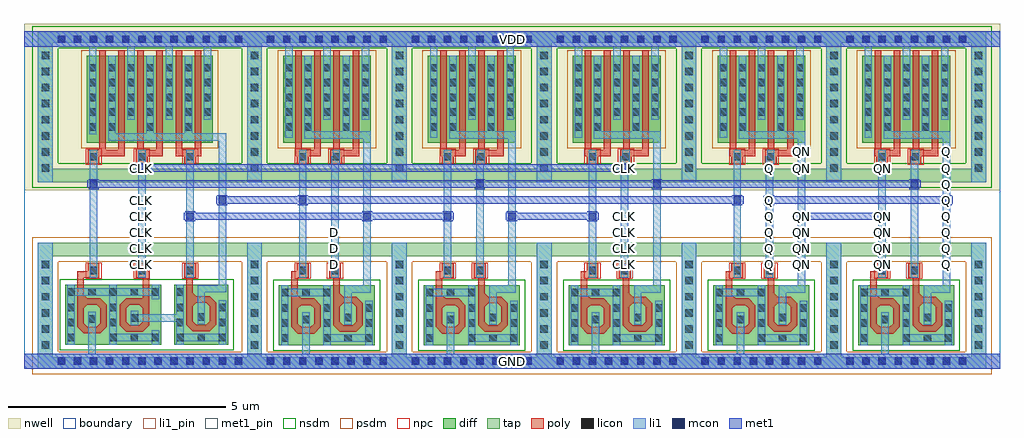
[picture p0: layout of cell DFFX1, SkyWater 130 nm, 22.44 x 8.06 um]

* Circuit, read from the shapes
.subckt DFFX1 CLK D GND Q QN VDD
XM1 n1 n2 GND GND sky130_fd_pr__nfet_01v8 w=2.6 l=0.1485
XM2 n1 CLK n3 GND sky130_fd_pr__nfet_01v8 w=2.52 l=0.1457
XM3 n3 n4 n5 GND sky130_fd_pr__nfet_01v8 w=2.56 l=0.146
XM4 n6 n5 GND GND sky130_fd_pr__nfet_01v8 w=2.6 l=0.146
XM5 n6 D n4 GND sky130_fd_pr__nfet_01v8 w=2.56 l=0.1471
XM6 n7 n4 GND GND sky130_fd_pr__nfet_01v8 w=2.6 l=0.146
XM7 n7 n2 n8 GND sky130_fd_pr__nfet_01v8 w=2.56 l=0.1472
XM8 n9 n8 GND GND sky130_fd_pr__nfet_01v8 w=2.6 l=0.146
XM9 n9 CLK n2 GND sky130_fd_pr__nfet_01v8 w=2.56 l=0.1471
XM10 n10 n5 GND GND sky130_fd_pr__nfet_01v8 w=2.6 l=0.1459
XM11 n10 Q QN GND sky130_fd_pr__nfet_01v8 w=2.56 l=0.1473
XM12 n11 QN GND GND sky130_fd_pr__nfet_01v8 w=2.6 l=0.146
XM13 n11 n2 Q GND sky130_fd_pr__nfet_01v8 w=2.56 l=0.1471
XM14 n5 n2 VDD VDD sky130_fd_pr__pfet_01v8 w=2 l=0.15 m=2
XM15 n5 CLK VDD VDD sky130_fd_pr__pfet_01v8 w=2 l=0.15 m=2
XM16 n5 n4 VDD VDD sky130_fd_pr__pfet_01v8 w=2 l=0.15 m=2
XM17 n4 n5 VDD VDD sky130_fd_pr__pfet_01v8 w=2 l=0.15 m=2
XM18 n4 D VDD VDD sky130_fd_pr__pfet_01v8 w=2 l=0.15 m=2
XM19 n8 n4 VDD VDD sky130_fd_pr__pfet_01v8 w=2 l=0.15 m=2
XM20 n8 n2 VDD VDD sky130_fd_pr__pfet_01v8 w=2 l=0.15 m=2
XM21 n2 n8 VDD VDD sky130_fd_pr__pfet_01v8 w=2 l=0.15 m=2
XM22 n2 CLK VDD VDD sky130_fd_pr__pfet_01v8 w=2 l=0.15 m=2
XM23 QN n5 VDD VDD sky130_fd_pr__pfet_01v8 w=2 l=0.15 m=2
XM24 QN Q VDD VDD sky130_fd_pr__pfet_01v8 w=2 l=0.15 m=2
XM25 Q QN VDD VDD sky130_fd_pr__pfet_01v8 w=2 l=0.15 m=2
XM26 Q n2 VDD VDD sky130_fd_pr__pfet_01v8 w=2 l=0.15 m=2
.ends

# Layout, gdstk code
from math import pi, radians
import gdstk
lib = gdstk.Library(unit=1e-6, precision=1e-09)
def R(c, l, rs):  # rectangles x0, y0, x1, y1
    for r in rs: c.add(gdstk.rectangle(r[:2], r[2:], *l))
def A(c, l, x, y, w, h, nx, ny, dx, dy):  # array of equal rectangles
    R(c, l, [(x+i*dx, y+j*dy, x+i*dx+w, y+j*dy+h) for i in range(nx) for j in range(ny)])
def P(c, l, *ps):  # polygons
    for p in ps: c.add(gdstk.Polygon(p, *l))
nwell = (64, 20)
diff = (65, 20)
tap = (65, 44)
poly = (66, 20)
licon = (66, 44)
li1_pin = (67, 16)
li1 = (67, 20)
mcon = (67, 44)
met1_pin = (68, 16)
met1 = (68, 20)
nsdm = (93, 44)
psdm = (94, 20)
npc = (95, 20)
boundary = (235, 4)

li1_m1_contact = lib.new_cell('li1_M1_contact')
R(li1_m1_contact, li1, [(-0.085,-0.165,0.085,0.165)])
R(li1_m1_contact, mcon, [(-0.085,-0.085,0.085,0.085)])
R(li1_m1_contact, met1, [(-0.115,-0.115,0.115,-0.085), (-0.265,-0.085,0.145,0.085), (-0.115,0.085,0.115,0.115)])

diff_ring_side = lib.new_cell('diff_ring_side')
R(diff_ring_side, nwell, [(-0.435,3.93,0.435,7.75)])
R(diff_ring_side, tap, [(-0.17,-0.17,0.17,2.72), (-0.17,4.11,0.17,7.57)])
A(diff_ring_side, licon, -0.085, 0.285, 0.17, 0.17, 1, 6, 0, 0.37)
A(diff_ring_side, licon, -0.085, 4.355, 0.17, 0.17, 1, 8, 0, 0.37)
R(diff_ring_side, li1, [(-0.17,-0.17,0.17,2.72), (-0.17,4.11,0.17,7.57)])
R(diff_ring_side, met1, [(-0.17,-0.17,0.17,0.17), (-0.17,7.23,0.17,7.57)])
R(diff_ring_side, nsdm, [(-0.295,3.985,0.295,7.695)])
R(diff_ring_side, psdm, [(-0.295,-0.295,0.295,2.845)])

nmos_bottom = lib.new_cell('nmos_bottom')
R(nmos_bottom, diff, [(0,0,1.24,1.38)])
R(nmos_bottom, poly, [(0.43,0.27,0.81,0.42), (0.28,0.42,0.43,0.925), (0.81,0.42,0.96,0.925), (0.43,0.925,0.96,1.075), (0.81,1.075,0.96,1.51)])
P(nmos_bottom, poly, [(0.73,1.075),(0.81,1.075),(0.81,1.155)],
  [(0.28,0.925),(0.43,0.925),(0.43,1.075)],
  [(0.43,0.845),(0.43,0.925),(0.51,0.925)],
  [(0.73,0.925),(0.81,0.925),(0.81,0.845)],
  [(0.43,0.5),(0.43,0.42),(0.51,0.42)],
  [(0.73,0.42),(0.81,0.42),(0.81,0.5)],
  [(0.28,0.42),(0.43,0.42),(0.43,0.27)],
  [(0.81,0.27),(0.81,0.42),(0.96,0.42)])
A(nmos_bottom, licon, 0.05, 1.13, 0.17, 0.17, 3, 1, 0.485, 0)
R(nmos_bottom, licon, [(0.05,0.08,0.22,0.25), (1.02,0.08,1.19,0.25), (0.05,0.43,0.22,0.6), (1.02,0.43,1.19,0.6), (0.535,0.505,0.705,0.675), (0.05,0.77,0.22,0.94), (1.02,0.77,1.19,0.94)])
R(nmos_bottom, li1, [(0.05,0,0.22,1.13), (1.02,0,1.19,1.13), (0.535,0.425,0.705,0.755), (0.05,1.13,1.19,1.3), (0.05,1.3,0.22,1.38), (1.02,1.3,1.19,1.38)])
R(nmos_bottom, nsdm, [(-0.125,-0.125,1.365,1.505)])

pmos2 = lib.new_cell('pmos2')
R(pmos2, nwell, [(0.26,-2.18,1.76,0.18)])
R(pmos2, diff, [(0.44,-2,1.58,0)])
R(pmos2, poly, [(0.72,-2.305,1.31,-2.155), (0.72,-2.155,0.87,0.13), (1.16,-2.155,1.31,0.13)])
A(pmos2, licon, 0.49, -1.38, 0.17, 0.17, 3, 4, 0.44, 0.34)
R(pmos2, li1, [(0.49,-1.465,0.66,0.21), (0.93,-1.465,1.1,0), (1.37,-1.465,1.54,0.21)])
R(pmos2, psdm, [(0.315,-2.125,1.705,0.125)])

poly_li1_contact = lib.new_cell('poly_li1_contact')
R(poly_li1_contact, poly, [(-0.16,-0.14,0.17,0.13)])
R(poly_li1_contact, licon, [(-0.08,-0.09,0.09,0.08)])
R(poly_li1_contact, li1, [(-0.16,-0.09,0.17,0.08)])
R(poly_li1_contact, npc, [(-0.18,-0.19,0.19,0.18)])

nmos_top_trim1 = lib.new_cell('nmos_top_trim1')
R(nmos_top_trim1, diff, [(0,0,1.24,1.38)])
R(nmos_top_trim1, poly, [(0.43,0.31,0.81,0.46), (0.28,0.46,0.43,0.965), (0.81,0.46,0.96,0.965), (0.43,0.965,0.96,1.115), (0.81,1.115,0.96,1.545)])
P(nmos_top_trim1, poly, [(0.73,1.115),(0.81,1.115),(0.81,1.195)],
  [(0.28,0.965),(0.43,0.965),(0.43,1.115)],
  [(0.43,0.885),(0.43,0.965),(0.51,0.965)],
  [(0.73,0.965),(0.81,0.965),(0.81,0.885)],
  [(0.43,0.54),(0.43,0.46),(0.51,0.46)],
  [(0.73,0.46),(0.81,0.46),(0.81,0.54)],
  [(0.28,0.46),(0.43,0.46),(0.43,0.31)],
  [(0.81,0.31),(0.81,0.46),(0.96,0.46)])
A(nmos_top_trim1, licon, 0.05, 0.08, 0.17, 0.17, 3, 1, 0.485, 0)
R(nmos_top_trim1, licon, [(0.05,0.43,0.22,0.6), (1.02,0.43,1.19,0.6), (0.535,0.55,0.705,0.72), (0.05,0.77,0.22,0.94), (1.02,0.77,1.19,0.94), (1.02,1.13,1.19,1.3)])
R(nmos_top_trim1, li1, [(0.05,0,0.22,0.08), (1.02,0,1.19,0.08), (0.05,0.08,1.19,0.25), (0.05,0.25,0.22,1.02), (1.02,0.25,1.19,1.38), (0.535,0.47,0.705,0.805)])
R(nmos_top_trim1, nsdm, [(-0.125,-0.125,1.365,1.505)])

nand2x1_pcell = lib.new_cell('nand2x1_pcell')
R(nand2x1_pcell, nwell, [(0.435,3.93,2.895,7.75)])
R(nand2x1_pcell, diff, [(0.705,5.295,0.875,5.465), (1.145,5.295,1.315,5.465), (2.025,5.295,2.195,5.465)])
R(nand2x1_pcell, tap, [(0.17,-0.17,3.16,-0.15), (0.155,-0.15,3.175,0.085), (0.155,2.4,0.17,2.41), (3.16,2.4,3.175,2.41), (0.155,2.41,3.175,2.71), (0.17,2.71,3.16,2.72), (0.17,4.11,3.16,4.42), (0.17,7.315,3.16,7.57)])
R(nand2x1_pcell, poly, [(0.84,1.875,0.99,2.065), (1.81,1.91,1.96,1.915)])
A(nand2x1_pcell, licon, 0.285, -0.085, 0.17, 0.17, 8, 2, 0.37, 7.4)
R(nand2x1_pcell, licon, [(0.705,5.295,0.875,5.465), (1.145,5.295,1.315,5.465), (2.025,5.295,2.195,5.465)])
R(nand2x1_pcell, li1, [(0.17,-0.17,3.16,-0.15), (0.155,-0.15,3.175,0.16), (0.17,0.16,3.16,0.17), (1.095,0.17,1.265,0.835), (2.065,1.165,2.235,1.57), (2.065,1.57,2.675,1.74), (2.505,1.74,2.675,5.115), (1.025,2.165,1.195,4.54), (1.765,2.165,1.785,2.205), (1.765,2.205,1.935,4.54), (1.765,4.54,1.805,4.71), (1.145,5.115,2.675,5.285), (0.705,5.135,0.875,5.555), (1.145,5.285,1.315,5.555), (2.025,5.285,2.195,5.555), (0.17,7.23,3.16,7.57)])
A(nand2x1_pcell, mcon, 0.285, -0.085, 0.17, 0.17, 8, 2, 0.37, 7.4)
R(nand2x1_pcell, met1, [(0.17,-0.17,3.16,-0.15), (0.155,-0.15,3.175,0.16), (0.17,0.16,3.16,0.17), (0.17,7.23,3.16,7.57)])
R(nand2x1_pcell, nsdm, [(0.045,3.985,3.285,4.545), (0.045,7.19,3.285,7.695)])
R(nand2x1_pcell, psdm, [(0.045,-0.295,3.285,-0.275), (0.03,-0.275,3.3,0.21), (0.03,2.275,0.295,2.285), (3.035,2.275,3.3,2.285), (0.03,2.285,3.3,2.835), (0.045,2.835,3.285,2.845), (0.58,5.17,1.44,5.59), (1.9,5.17,2.32,5.59)])
nand2x1_pcell.add(gdstk.Reference(diff_ring_side, (0,0)))
nand2x1_pcell.add(gdstk.Reference(nmos_bottom, (1.8,0.365), rotation=pi, x_reflection=True))
nand2x1_pcell.add(gdstk.Reference(pmos2, (0.215,7.02)))
nand2x1_pcell.add(gdstk.Reference(poly_li1_contact, (1.115,4.705), rotation=3*pi/2))
nand2x1_pcell.add(gdstk.Reference(poly_li1_contact, (1.115,2.085), rotation=3*pi/2))
nand2x1_pcell.add(gdstk.Reference(nmos_top_trim1, (2.77,0.365), rotation=pi, x_reflection=True))
nand2x1_pcell.add(gdstk.Reference(pmos2, (1.095,7.02)))
nand2x1_pcell.add(gdstk.Reference(poly_li1_contact, (1.845,2.075), rotation=pi/2))
nand2x1_pcell.add(gdstk.Reference(poly_li1_contact, (1.885,4.705), rotation=3*pi/2))
nand2x1_pcell.add(gdstk.Reference(diff_ring_side, (3.33,0)))

nmos_side_left = lib.new_cell('nmos_side_left')
R(nmos_side_left, diff, [(0,0,1.24,1.38)])
R(nmos_side_left, poly, [(0.435,0.305,0.81,0.455), (0.285,0.455,0.435,0.925), (0.81,0.455,0.96,0.925), (0.435,0.925,0.96,1.075), (0.81,1.075,0.96,1.51)])
P(nmos_side_left, poly, [(0.285,0.925),(0.435,0.925),(0.435,1.075)],
  [(0.435,0.845),(0.435,0.925),(0.515,0.925)],
  [(0.73,0.925),(0.81,0.925),(0.81,0.845)],
  [(0.435,0.535),(0.435,0.455),(0.515,0.455)],
  [(0.73,0.455),(0.81,0.455),(0.81,0.535)],
  [(0.285,0.455),(0.435,0.455),(0.435,0.305)],
  [(0.81,0.305),(0.81,0.455),(0.96,0.455)])
A(nmos_side_left, licon, 0.05, 0.08, 0.17, 0.17, 3, 2, 0.485, 1.05)
R(nmos_side_left, licon, [(0.05,0.43,0.22,0.6), (0.54,0.535,0.71,0.705), (0.05,0.77,0.22,0.94)])
R(nmos_side_left, li1, [(0.05,0,0.22,0.08), (1.02,0,1.19,0.08), (0.05,0.08,1.19,0.25), (0.05,0.25,0.22,1.13), (1.02,0.25,1.19,0.33), (0.54,0.455,0.71,0.785), (1.02,1.05,1.19,1.13), (0.05,1.13,1.19,1.3), (0.05,1.3,0.22,1.38), (1.02,1.3,1.19,1.38)])
R(nmos_side_left, nsdm, [(-0.125,-0.125,1.365,1.505)])

nand3x1_pcell = lib.new_cell('nand3x1_pcell')
R(nand3x1_pcell, nwell, [(0.435,3.93,4.375,5.28), (0.435,5.28,1.1,5.295), (1.395,5.28,4.375,5.495), (0.435,5.295,1.025,5.465), (1.145,5.295,1.315,5.465), (0.435,5.465,1.1,5.495), (0.435,5.495,4.375,7.75)])
A(nand3x1_pcell, diff, 1.445, 5.295, 0.17, 0.17, 3, 1, 0.88, 0)
R(nand3x1_pcell, diff, [(1.005,5.295,1.175,5.465)])
R(nand3x1_pcell, tap, [(0.17,-0.17,4.64,0.085), (0.17,2.41,4.64,2.72), (0.17,4.11,4.64,4.42), (0.17,7.315,4.64,7.57)])
R(nand3x1_pcell, poly, [(0.735,1.885,0.885,1.915), (2.235,1.885,2.385,1.915), (0.735,1.915,0.975,2.065), (2.355,1.915,2.385,2.065)])
A(nand3x1_pcell, licon, 0.285, -0.085, 0.17, 0.17, 12, 2, 0.37, 7.4)
A(nand3x1_pcell, licon, 1.445, 5.295, 0.17, 0.17, 3, 1, 0.88, 0)
R(nand3x1_pcell, licon, [(1.005,5.295,1.175,5.465)])
A(nand3x1_pcell, li1, 1.445, 5.24, 0.17, 0.315, 3, 1, 0.88, 0)
R(nand3x1_pcell, li1, [(0.17,-0.17,4.64,0.17), (0.99,0.17,1.16,0.835), (1.965,0.91,3.015,1.08), (3.5,1.175,3.67,1.58), (3.5,1.58,4.155,1.75), (3.985,1.75,4.155,5.07), (1.025,2.165,1.195,4.54), (2.135,2.165,2.305,4.54), (3.245,2.245,3.415,4.7), (1.445,5.07,4.155,5.24), (1.005,5.215,1.175,5.58), (0.17,7.23,4.64,7.57)])
A(nand3x1_pcell, mcon, 0.285, -0.085, 0.17, 0.17, 12, 2, 0.37, 7.4)
R(nand3x1_pcell, met1, [(0.17,-0.17,4.64,0.17), (0.17,7.23,4.64,7.57)])
R(nand3x1_pcell, nsdm, [(2.79,0.25,2.84,1.88), (0.045,3.985,4.765,4.545), (0.045,7.19,4.765,7.695)])
R(nand3x1_pcell, psdm, [(0.045,-0.295,4.765,0.21), (0.045,2.285,4.765,2.845), (0.88,5.17,1.74,5.59), (2.2,5.17,2.62,5.59), (3.08,5.17,3.5,5.59)])
nand3x1_pcell.add(gdstk.Reference(diff_ring_side, (0,0)))
nand3x1_pcell.add(gdstk.Reference(nmos_bottom, (1.695,0.375), rotation=pi, x_reflection=True))
nand3x1_pcell.add(gdstk.Reference(pmos2, (0.515,7.02)))
nand3x1_pcell.add(gdstk.Reference(poly_li1_contact, (1.115,4.705), rotation=3*pi/2))
nand3x1_pcell.add(gdstk.Reference(poly_li1_contact, (1.105,2.075), rotation=pi/2))
nand3x1_pcell.add(gdstk.Reference(nmos_side_left, (1.425,0.375)))
nand3x1_pcell.add(gdstk.Reference(pmos2, (1.395,7.02)))
nand3x1_pcell.add(gdstk.Reference(pmos2, (2.275,7.02)))
nand3x1_pcell.add(gdstk.Reference(poly_li1_contact, (2.215,2.075), rotation=pi/2))
nand3x1_pcell.add(gdstk.Reference(poly_li1_contact, (2.215,4.695), rotation=pi/2))
nand3x1_pcell.add(gdstk.Reference(nmos_top_trim1, (4.205,0.375), rotation=pi, x_reflection=True))
nand3x1_pcell.add(gdstk.Reference(poly_li1_contact, (3.325,2.075), rotation=pi/2))
nand3x1_pcell.add(gdstk.Reference(poly_li1_contact, (3.335,4.705), rotation=3*pi/2))
nand3x1_pcell.add(gdstk.Reference(diff_ring_side, (4.81,0)))

dffx1_pcell = lib.new_cell('dffx1_pcell')
R(dffx1_pcell, met1, [(3.425,3.245,7.135,3.415), (7.545,3.245,8.985,3.415), (10.825,3.245,12.39,3.415), (4.165,3.615,5.66,3.785), (6.065,3.615,15.815,3.785), (1.29,3.985,13.965,4.155), (14.205,3.985,19.95,4.155), (2.135,4.355,13.255,4.525)])
dffx1_pcell.add(gdstk.Reference(li1_m1_contact, (1.11,4.07), rotation=pi))
dffx1_pcell.add(gdstk.Reference(li1_m1_contact, (3.33,3.33), rotation=pi))
dffx1_pcell.add(gdstk.Reference(li1_m1_contact, (4.07,3.7), rotation=pi))
dffx1_pcell.add(gdstk.Reference(li1_m1_contact, (2.22,4.44), rotation=pi))
dffx1_pcell.add(gdstk.Reference(nand2x1_pcell, (4.81,0)))
dffx1_pcell.add(gdstk.Reference(nand3x1_pcell, (0,0)))
dffx1_pcell.add(gdstk.Reference(li1_m1_contact, (9.99,4.07)))
dffx1_pcell.add(gdstk.Reference(li1_m1_contact, (7.4,3.33)))
dffx1_pcell.add(gdstk.Reference(li1_m1_contact, (5.92,3.7)))
dffx1_pcell.add(gdstk.Reference(li1_m1_contact, (9.25,3.33)))
dffx1_pcell.add(gdstk.Reference(li1_m1_contact, (10.73,3.33), rotation=pi))
dffx1_pcell.add(gdstk.Reference(nand2x1_pcell, (8.14,0)))
dffx1_pcell.add(gdstk.Reference(li1_m1_contact, (14.06,4.07)))
dffx1_pcell.add(gdstk.Reference(li1_m1_contact, (15.91,3.7)))
dffx1_pcell.add(gdstk.Reference(li1_m1_contact, (12.58,3.33)))
dffx1_pcell.add(gdstk.Reference(li1_m1_contact, (13.32,4.44)))
dffx1_pcell.add(gdstk.Reference(nand2x1_pcell, (11.47,0)))
dffx1_pcell.add(gdstk.Reference(nand2x1_pcell, (14.8,0)))
dffx1_pcell.add(gdstk.Reference(li1_m1_contact, (19.98,4.07)))
dffx1_pcell.add(gdstk.Reference(nand2x1_pcell, (18.13,0)))

dffx1 = lib.new_cell('DFFX1')
R(dffx1, nwell, [(0,4.11,22.44,7.94)])
R(dffx1, tap, [(0.32,0,22.12,0.03), (0.32,7.75,22.12,7.76)])
A(dffx1, li1_pin, 2.625, 2.315, 0.17, 0.17, 1, 5, 0, 0.37)
A(dffx1, li1_pin, 7.065, 2.315, 0.17, 0.17, 1, 3, 0, 0.37)
A(dffx1, li1_pin, 13.725, 2.315, 0.17, 0.17, 1, 4, 0, 0.37)
A(dffx1, li1_pin, 17.055, 2.315, 0.17, 0.17, 1, 5, 0, 0.37)
A(dffx1, li1_pin, 17.795, 2.315, 0.17, 0.17, 1, 4, 0, 0.37)
A(dffx1, li1_pin, 19.645, 2.315, 0.17, 0.17, 1, 4, 0, 0.37)
A(dffx1, li1_pin, 21.125, 2.315, 0.17, 0.17, 1, 8, 0, 0.37)
R(dffx1, li1_pin, [(2.625,4.535,2.795,4.705), (13.725,4.535,13.895,4.705), (17.055,4.535,17.225,4.705), (17.795,4.535,17.965,4.705), (19.645,4.535,19.815,4.705), (17.795,4.905,17.965,5.075)])
A(dffx1, li1, 2.625, 2.315, 0.17, 0.17, 1, 5, 0, 0.37)
A(dffx1, li1, 7.065, 2.315, 0.17, 0.17, 1, 3, 0, 0.37)
A(dffx1, li1, 13.725, 2.315, 0.17, 0.17, 1, 4, 0, 0.37)
A(dffx1, li1, 17.055, 2.315, 0.17, 0.17, 1, 5, 0, 0.37)
A(dffx1, li1, 17.795, 2.315, 0.17, 0.17, 1, 4, 0, 0.37)
A(dffx1, li1, 19.645, 2.315, 0.17, 0.17, 1, 4, 0, 0.37)
A(dffx1, li1, 21.125, 2.315, 0.17, 0.17, 1, 8, 0, 0.37)
R(dffx1, li1, [(0,0,22.44,0.085), (0,0.085,0.38,0.35), (22.12,0.085,22.44,0.35), (2.625,4.535,2.795,4.705), (13.725,4.535,13.895,4.705), (17.055,4.535,17.225,4.705), (17.795,4.535,17.965,4.705), (19.645,4.535,19.815,4.705), (17.795,4.905,17.965,5.075), (0,7.41,0.775,7.675), (22.12,7.41,22.44,7.415), (21.25,7.415,22.44,7.43), (22.115,7.43,22.44,7.675), (0,7.675,22.44,7.76)])
R(dffx1, met1_pin, [(0,0,22.44,0.35), (0,7.405,22.44,7.76)])
R(dffx1, met1, [(0,0,22.44,0.35), (17.975,3.425,19.525,3.595), (17.235,3.795,21.065,3.965), (0,7.41,0.775,7.415), (22.12,7.41,22.44,7.415), (0,7.415,22.44,7.76)])
R(dffx1, nsdm, [(0.195,7.625,22.245,7.885)])
R(dffx1, psdm, [(0.195,-0.125,22.245,0.155)])
R(dffx1, boundary, [(0,0,22.44,7.76)])
dffx1.add(gdstk.Reference(li1_m1_contact, (21.21,3.88)))
dffx1.add(gdstk.Reference(li1_m1_contact, (17.14,3.88), rotation=pi))
dffx1.add(gdstk.Reference(li1_m1_contact, (19.73,3.51)))
dffx1.add(gdstk.Reference(li1_m1_contact, (17.88,3.51), rotation=pi))
dffx1.add(gdstk.Reference(dffx1_pcell, (0.49,0.18)))
dffx1.add(gdstk.Label('Q', (17.14,2.4), layer=67, texttype=5))
dffx1.add(gdstk.Label('Q', (17.14,2.77), layer=67, texttype=5))
dffx1.add(gdstk.Label('Q', (17.14,3.14), layer=67, texttype=5))
dffx1.add(gdstk.Label('Q', (17.14,3.51), layer=67, texttype=5))
dffx1.add(gdstk.Label('Q', (17.14,3.88), layer=67, texttype=5))
dffx1.add(gdstk.Label('Q', (17.14,4.62), layer=67, texttype=5))
dffx1.add(gdstk.Label('Q', (21.21,2.4), layer=67, texttype=5))
dffx1.add(gdstk.Label('Q', (21.21,2.77), layer=67, texttype=5))
dffx1.add(gdstk.Label('Q', (21.21,3.14), layer=67, texttype=5))
dffx1.add(gdstk.Label('Q', (21.21,3.51), layer=67, texttype=5))
dffx1.add(gdstk.Label('Q', (21.21,4.99), layer=67, texttype=5))
dffx1.add(gdstk.Label('Q', (21.21,4.62), layer=67, texttype=5))
dffx1.add(gdstk.Label('Q', (21.21,4.25), layer=67, texttype=5))
dffx1.add(gdstk.Label('Q', (21.21,3.88), layer=67, texttype=5))
dffx1.add(gdstk.Label('QN', (17.88,4.99), layer=67, texttype=5))
dffx1.add(gdstk.Label('QN', (17.88,4.62), layer=67, texttype=5))
dffx1.add(gdstk.Label('QN', (17.88,3.51), layer=67, texttype=5))
dffx1.add(gdstk.Label('QN', (17.88,3.14), layer=67, texttype=5))
dffx1.add(gdstk.Label('QN', (17.88,2.77), layer=67, texttype=5))
dffx1.add(gdstk.Label('QN', (17.88,2.4), layer=67, texttype=5))
dffx1.add(gdstk.Label('QN', (19.73,2.4), layer=67, texttype=5))
dffx1.add(gdstk.Label('QN', (19.73,2.77), layer=67, texttype=5))
dffx1.add(gdstk.Label('QN', (19.73,3.14), layer=67, texttype=5))
dffx1.add(gdstk.Label('QN', (19.73,4.62), layer=67, texttype=5))
dffx1.add(gdstk.Label('QN', (19.73,3.51), layer=67, texttype=5))
dffx1.add(gdstk.Label('D', (7.15,2.4), layer=67, texttype=5))
dffx1.add(gdstk.Label('D', (7.15,2.77), layer=67, texttype=5))
dffx1.add(gdstk.Label('D', (7.15,3.14), layer=67, texttype=5))
dffx1.add(gdstk.Label('CLK', (13.81,4.62), layer=67, texttype=5))
dffx1.add(gdstk.Label('CLK', (13.81,3.51), layer=67, texttype=5))
dffx1.add(gdstk.Label('CLK', (13.81,3.14), layer=67, texttype=5))
dffx1.add(gdstk.Label('CLK', (13.81,2.77), layer=67, texttype=5))
dffx1.add(gdstk.Label('CLK', (13.81,2.4), layer=67, texttype=5))
dffx1.add(gdstk.Label('CLK', (2.71,2.4), layer=67, texttype=5))
dffx1.add(gdstk.Label('CLK', (2.71,2.77), layer=67, texttype=5))
dffx1.add(gdstk.Label('CLK', (2.71,3.14), layer=67, texttype=5))
dffx1.add(gdstk.Label('CLK', (2.71,3.51), layer=67, texttype=5))
dffx1.add(gdstk.Label('CLK', (2.71,3.88), layer=67, texttype=5))
dffx1.add(gdstk.Label('CLK', (2.71,4.62), layer=67, texttype=5))
dffx1.add(gdstk.Label('VDD', (11.22,7.582), layer=68, texttype=5))
dffx1.add(gdstk.Label('GND', (11.22,0.175), layer=68, texttype=5))

lib.write_gds('DFFX1.gds')
